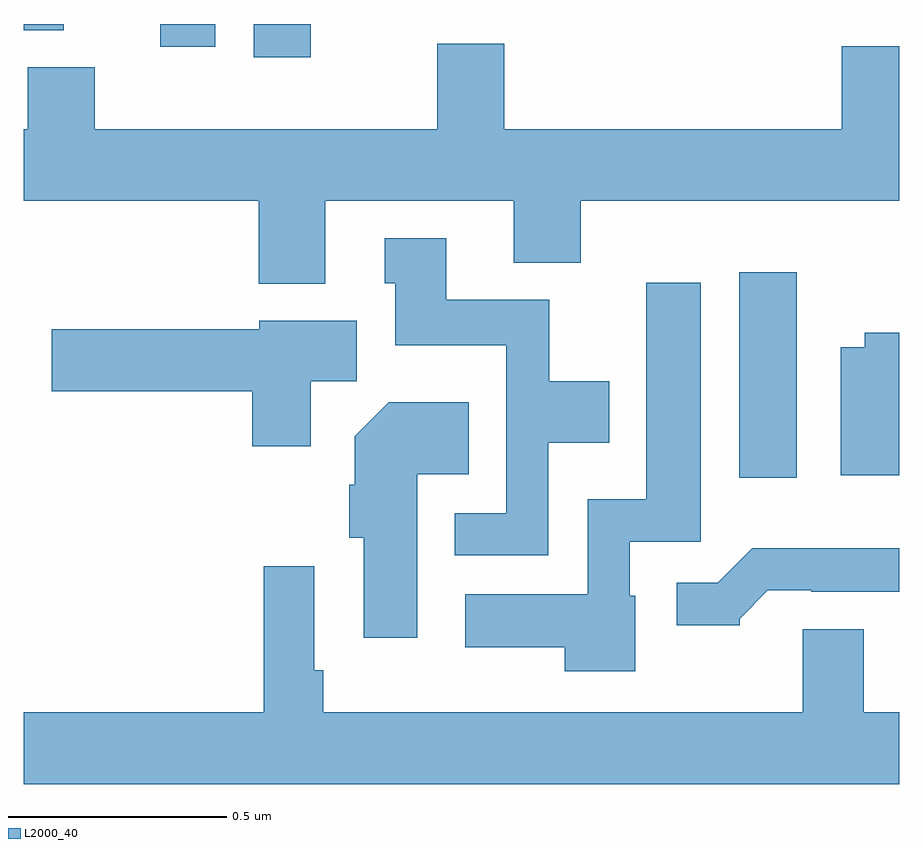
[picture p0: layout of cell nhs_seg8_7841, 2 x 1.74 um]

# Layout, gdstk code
import gdstk
lib = gdstk.Library(unit=1e-6, precision=1e-09)
def R(c, l, rs):  # rectangles x0, y0, x1, y1
    for r in rs: c.add(gdstk.rectangle(r[:2], r[2:], *l))
def P(c, l, *ps):  # polygons
    for p in ps: c.add(gdstk.Polygon(p, *l))
L2000_40 = (2000, 40)

nhs_seg8_7841 = lib.new_cell('nhs_seg8_7841')
R(nhs_seg8_7841, L2000_40, [(216.635,1119.864,216.766,1120.333), (215.525,1120.824,215.656,1120.9), (215.312,1120.848,215.437,1120.9), (215,1120.886,215.091,1120.9)])
P(nhs_seg8_7841, L2000_40, [(215.689,1120.496),(216.119,1120.496),(216.119,1120.355),(216.272,1120.355),(216.272,1120.496),(217,1120.496),(217,1120.849),(216.869,1120.849),(216.869,1120.66),(216.098,1120.66),(216.098,1120.855),(215.945,1120.855),(215.945,1120.66),(215.162,1120.66),(215.162,1120.801),(215.009,1120.801),(215.009,1120.66),(215,1120.66),(215,1120.496),(215.537,1120.496),(215.537,1120.307),(215.689,1120.307)],
  [(216.198,1119.944),(216.337,1119.944),(216.337,1120.084),(216.201,1120.084),(216.201,1120.27),(215.965,1120.27),(215.965,1120.411),(215.825,1120.411),(215.825,1120.308),(215.849,1120.308),(215.849,1120.166),(216.102,1120.166),(216.102,1119.783),(215.985,1119.783),(215.985,1119.687),(216.198,1119.687)],
  [(216.397,1119.594),(216.384,1119.594),(216.384,1119.717),(216.547,1119.717),(216.547,1120.309),(216.422,1120.309),(216.422,1119.814),(216.288,1119.814),(216.288,1119.598),(216.009,1119.598),(216.009,1119.476),(216.236,1119.476),(216.236,1119.422),(216.397,1119.422)],
  [(215.656,1120.084),(215.761,1120.084),(215.761,1120.222),(215.538,1120.222),(215.538,1120.203),(215.064,1120.203),(215.064,1120.061),(215.522,1120.061),(215.522,1119.936),(215.656,1119.936)],
  [(217,1120.195),(216.921,1120.195),(216.921,1120.162),(216.866,1120.162),(216.866,1119.869),(217,1119.869)],
  [(215.899,1119.872),(216.017,1119.872),(216.017,1120.036),(215.834,1120.036),(215.756,1119.958),(215.756,1119.848),(215.744,1119.848),(215.744,1119.726),(215.777,1119.726),(215.777,1119.498),(215.899,1119.498)],
  [(216.636,1119.542),(216.7,1119.606),(216.799,1119.606),(216.799,1119.603),(217,1119.603),(217,1119.703),(216.664,1119.703),(216.585,1119.624),(216.492,1119.624),(216.492,1119.527),(216.636,1119.527)],
  [(217,1119.328),(216.919,1119.328),(216.919,1119.518),(216.779,1119.518),(216.779,1119.328),(215.684,1119.328),(215.684,1119.424),(215.664,1119.424),(215.664,1119.661),(215.548,1119.661),(215.548,1119.328),(215,1119.328),(215,1119.164),(217,1119.164)])

lib.write_gds('nhs_seg8_7841.gds')
